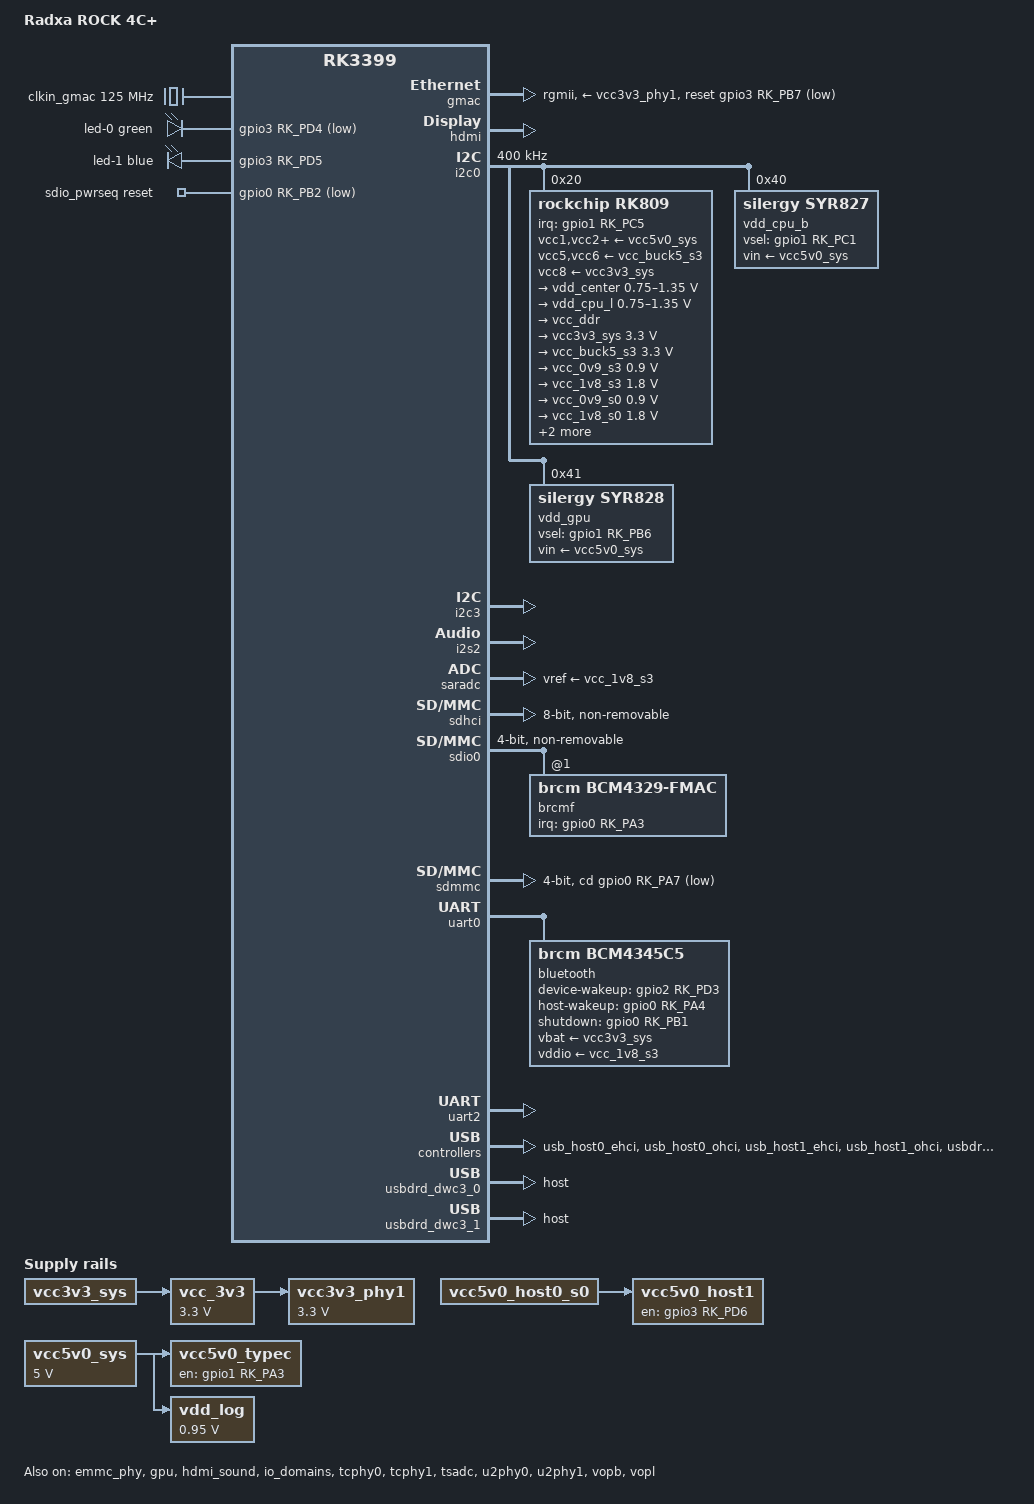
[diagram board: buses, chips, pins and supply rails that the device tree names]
// SPDX-License-Identifier: (GPL-2.0+ OR MIT)
/*
 * Copyright (c) 2019 Fuzhou Rockchip Electronics Co., Ltd
 * Copyright (c) 2019 Radxa Limited
 * Copyright (c) 2022 Amarula Solutions(India)
 */

/dts-v1/;
#include <dt-bindings/leds/common.h>
#include "rk3399.dtsi"
#include "rk3399-t-opp.dtsi"

/ {
	model = "Radxa ROCK 4C+";
	compatible = "radxa,rock-4c-plus", "rockchip,rk3399";

	aliases {
		mmc0 = &sdmmc;
		mmc1 = &sdhci;
	};

	chosen {
		stdout-path = "serial2:1500000n8";
	};

	clkin_gmac: external-gmac-clock {
		compatible = "fixed-clock";
		clock-frequency = <125000000>;
		clock-output-names = "clkin_gmac";
		#clock-cells = <0>;
	};

	leds {
		compatible = "gpio-leds";
		pinctrl-names = "default";
		pinctrl-0 = <&user_led1 &user_led2>;

		/* USER_LED1 */
		led-0 {
			function = LED_FUNCTION_POWER;
			color = <LED_COLOR_ID_GREEN>;
			gpios = <&gpio3 RK_PD4 GPIO_ACTIVE_LOW>;
			linux,default-trigger = "default-on";
		};

		/* USER_LED2 */
		led-1 {
			function = LED_FUNCTION_STATUS;
			color = <LED_COLOR_ID_BLUE>;
			gpios = <&gpio3 RK_PD5 GPIO_ACTIVE_HIGH>;
			linux,default-trigger = "heartbeat";
		};
	};

	sdio_pwrseq: sdio-pwrseq {
		compatible = "mmc-pwrseq-simple";
		clocks = <&rk809 1>;
		clock-names = "ext_clock";
		pinctrl-names = "default";
		pinctrl-0 = <&wifi_enable_h>;
		reset-gpios = <&gpio0 RK_PB2 GPIO_ACTIVE_LOW>;
	};

	vcc_3v3: vcc-3v3-regulator {
		compatible = "regulator-fixed";
		regulator-name = "vcc_3v3";
		regulator-always-on;
		regulator-boot-on;
		regulator-min-microvolt = <3300000>;
		regulator-max-microvolt = <3300000>;
		vin-supply = <&vcc3v3_sys>;
	};

	vcc3v3_phy1: vcc3v3-phy1-regulator {
		compatible = "regulator-fixed";
		regulator-name = "vcc3v3_phy1";
		regulator-always-on;
		regulator-boot-on;
		regulator-min-microvolt = <3300000>;
		regulator-max-microvolt = <3300000>;
		vin-supply = <&vcc_3v3>;
	};

	vcc5v0_host1: vcc5v0-host-regulator {
		compatible = "regulator-fixed";
		enable-active-high;
		gpio = <&gpio3 RK_PD6 GPIO_ACTIVE_HIGH>;
		pinctrl-names = "default";
		pinctrl-0 = <&vcc5v0_host_en>;
		regulator-name = "vcc5v0_host1";
		regulator-always-on;
		regulator-boot-on;
		vin-supply = <&vcc5v0_host0_s0>;
	};

	vcc5v0_sys: vcc5v0-sys-regulator {
		compatible = "regulator-fixed";
		regulator-name = "vcc5v0_sys";
		regulator-always-on;
		regulator-boot-on;
		regulator-min-microvolt = <5000000>;
		regulator-max-microvolt = <5000000>;
	};

	vcc5v0_typec: vcc5v0-typec-regulator {
		compatible = "regulator-fixed";
		enable-active-high;
		gpio = <&gpio1 RK_PA3 GPIO_ACTIVE_HIGH>;
		pinctrl-names = "default";
		pinctrl-0 = <&vcc5v0_typec0_en>;
		regulator-name = "vcc5v0_typec";
		regulator-always-on;
		regulator-boot-on;
		vin-supply = <&vcc5v0_sys>;
	};

	vdd_log: vdd-log-regulator {
		compatible = "regulator-fixed";
		regulator-name = "vdd_log";
		regulator-always-on;
		regulator-boot-on;
		regulator-min-microvolt = <950000>;
		regulator-max-microvolt = <950000>;
		vin-supply = <&vcc5v0_sys>;
	};
};

&cpu_l0 {
	cpu-supply = <&vdd_cpu_l>;
};

&cpu_l1 {
	cpu-supply = <&vdd_cpu_l>;
};

&cpu_l2 {
	cpu-supply = <&vdd_cpu_l>;
};

&cpu_l3 {
	cpu-supply = <&vdd_cpu_l>;
};

&cpu_b0 {
	cpu-supply = <&vdd_cpu_b>;
};

&cpu_b1 {
	cpu-supply = <&vdd_cpu_b>;
};

&emmc_phy {
	status = "okay";
};

&gmac {
	assigned-clocks = <&cru SCLK_RMII_SRC>;
	assigned-clock-parents = <&clkin_gmac>;
	clock_in_out = "input";
	phy-supply = <&vcc3v3_phy1>;
	phy-mode = "rgmii";
	pinctrl-names = "default";
	pinctrl-0 = <&rgmii_pins>;
	snps,reset-gpio = <&gpio3 RK_PB7 GPIO_ACTIVE_LOW>;
	snps,reset-active-low;
	snps,reset-delays-us = <0 10000 50000>;
	tx_delay = <0x2a>;
	rx_delay = <0x21>;
	status = "okay";
};

&gpu {
	mali-supply = <&vdd_gpu>;
	status = "okay";
};

&hdmi {
	avdd-0v9-supply = <&vcc_0v9_s0>;
	avdd-1v8-supply = <&vcc_1v8_s0>;
	ddc-i2c-bus = <&i2c3>;
	pinctrl-names = "default";
	pinctrl-0 = <&hdmi_cec>;
	status = "okay";
};

&hdmi_sound {
	status = "okay";
};

&i2c0 {
	status = "okay";
	i2c-scl-falling-time-ns = <30>;
	i2c-scl-rising-time-ns = <180>;
	clock-frequency = <400000>;

	rk809: pmic@20 {
		compatible = "rockchip,rk809";
		reg = <0x20>;
		interrupt-parent = <&gpio1>;
		interrupts = <RK_PC5 IRQ_TYPE_LEVEL_LOW>;
		#clock-cells = <1>;
		clock-output-names = "rk808-clkout1", "rk808-clkout2";
		pinctrl-names = "default";
		pinctrl-0 = <&pmic_int_l>;
		rockchip,system-power-controller;
		wakeup-source;

		vcc1-supply = <&vcc5v0_sys>;
		vcc2-supply = <&vcc5v0_sys>;
		vcc3-supply = <&vcc5v0_sys>;
		vcc4-supply = <&vcc5v0_sys>;
		vcc5-supply = <&vcc_buck5_s3>;
		vcc6-supply = <&vcc_buck5_s3>;
		vcc7-supply = <&vcc5v0_sys>;
		vcc8-supply = <&vcc3v3_sys>;
		vcc9-supply = <&vcc5v0_sys>;

		regulators {
			vdd_center: DCDC_REG1 {
				regulator-always-on;
				regulator-boot-on;
				regulator-min-microvolt = <750000>;
				regulator-max-microvolt = <1350000>;
				regulator-initial-mode = <0x2>;
				regulator-name = "vdd_center";
				regulator-state-mem {
					regulator-off-in-suspend;
					regulator-suspend-microvolt = <900000>;
				};
			};

			vdd_cpu_l: DCDC_REG2 {
				regulator-always-on;
				regulator-boot-on;
				regulator-min-microvolt = <750000>;
				regulator-max-microvolt = <1350000>;
				regulator-ramp-delay = <6001>;
				regulator-initial-mode = <0x2>;
				regulator-name = "vdd_cpu_l";
				regulator-state-mem {
					regulator-off-in-suspend;
				};
			};

			vcc_ddr: DCDC_REG3 {
				regulator-always-on;
				regulator-boot-on;
				regulator-name = "vcc_ddr";
				regulator-initial-mode = <0x2>;
				regulator-state-mem {
					regulator-on-in-suspend;
				};
			};

			vcc3v3_sys: DCDC_REG4 {
				regulator-always-on;
				regulator-boot-on;
				regulator-min-microvolt = <3300000>;
				regulator-max-microvolt = <3300000>;
				regulator-initial-mode = <0x2>;
				regulator-name = "vcc3v3_sys";
				regulator-state-mem {
					regulator-on-in-suspend;
					regulator-suspend-microvolt = <3300000>;
				};
			};

			vcc_buck5_s3: DCDC_REG5 {
				regulator-always-on;
				regulator-boot-on;
				regulator-min-microvolt = <3300000>;
				regulator-max-microvolt = <3300000>;
				regulator-name = "vcc_buck5_s3";
				regulator-state-mem {
					regulator-on-in-suspend;
					regulator-suspend-microvolt = <3300000>;
				};
			};

			vcc_0v9_s3: LDO_REG1 {
				regulator-always-on;
				regulator-boot-on;
				regulator-min-microvolt = <900000>;
				regulator-max-microvolt = <900000>;
				regulator-name = "vcc_0v9_s3";
				regulator-state-mem {
					regulator-off-in-suspend;
				};
			};

			vcc_1v8_s3: LDO_REG2 {
				regulator-always-on;
				regulator-boot-on;
				regulator-min-microvolt = <1800000>;
				regulator-max-microvolt = <1800000>;
				regulator-name = "vcc_1v8_s3";
				regulator-state-mem {
					regulator-on-in-suspend;
					regulator-suspend-microvolt = <1800000>;
				};
			};

			vcc_0v9_s0: LDO_REG3 {
				regulator-always-on;
				regulator-boot-on;
				regulator-min-microvolt = <900000>;
				regulator-max-microvolt = <900000>;
				regulator-name = "vcc_0v9_s0";
				regulator-state-mem {
					regulator-on-in-suspend;
					regulator-suspend-microvolt = <900000>;
				};
			};

			vcc_1v8_s0: LDO_REG4 {
				regulator-always-on;
				regulator-boot-on;
				regulator-min-microvolt = <1800000>;
				regulator-max-microvolt = <1800000>;
				regulator-name = "vcc_1v8_s0";
				regulator-state-mem {
					regulator-off-in-suspend;
				};
			};

			vcc_mipi: LDO_REG5 {
				regulator-always-on;
				regulator-boot-on;
				regulator-min-microvolt = <3000000>;
				regulator-max-microvolt = <3000000>;
				regulator-name = "vcc_mipi";
				regulator-state-mem {
					regulator-off-in-suspend;
				};
			};

			vcc_1v5_s0: LDO_REG6 {
				regulator-always-on;
				regulator-boot-on;
				regulator-min-microvolt = <1500000>;
				regulator-max-microvolt = <1500000>;
				regulator-name = "vcc_1v5_s0";
				regulator-state-mem {
					regulator-off-in-suspend;
				};
			};

			vcc_3v0_s0: LDO_REG7 {
				regulator-always-on;
				regulator-boot-on;
				regulator-min-microvolt = <3000000>;
				regulator-max-microvolt = <3000000>;
				regulator-name = "vcc_3v0_s0";
				regulator-state-mem {
					regulator-off-in-suspend;
				};
			};

			vcc_sdio_s0: LDO_REG8 {
				regulator-always-on;
				regulator-boot-on;
				regulator-min-microvolt = <1800000>;
				regulator-max-microvolt = <3300000>;
				regulator-name = "vcc_sdio_s0";
				regulator-state-mem {
					regulator-off-in-suspend;
				};
			};

			vcc_cam: LDO_REG9 {
				regulator-always-on;
				regulator-boot-on;
				regulator-min-microvolt = <3300000>;
				regulator-max-microvolt = <3300000>;
				regulator-name = "vcc_cam";
				regulator-state-mem {
					regulator-off-in-suspend;
				};
			};

			vcc5v0_host0_s0: SWITCH_REG1 {
				regulator-always-on;
				regulator-boot-on;
				regulator-name = "vcc5v0_host0_s0";
				regulator-state-mem {
					regulator-on-in-suspend;
				};
			};

			lcd_3v3: SWITCH_REG2 {
				regulator-always-on;
				regulator-boot-on;
				regulator-name = "lcd_3v3";
				regulator-state-mem {
					regulator-off-in-suspend;
				};
			};
		};
	};

	vdd_cpu_b: regulator@40 {
		compatible = "silergy,syr827";
		reg = <0x40>;
		fcs,suspend-voltage-selector = <1>;
		regulator-compatible = "fan53555-reg";
		pinctrl-0 = <&vsel1_gpio>;
		vsel-gpios = <&gpio1 RK_PC1 GPIO_ACTIVE_HIGH>;
		regulator-name = "vdd_cpu_b";
		regulator-min-microvolt = <712500>;
		regulator-max-microvolt = <1500000>;
		regulator-ramp-delay = <1000>;
		regulator-always-on;
		regulator-boot-on;
		vin-supply = <&vcc5v0_sys>;
		regulator-state-mem {
			regulator-off-in-suspend;
		};
	};

	vdd_gpu: regulator@41 {
		compatible = "silergy,syr828";
		reg = <0x41>;
		fcs,suspend-voltage-selector = <1>;
		regulator-compatible = "fan53555-reg";
		pinctrl-0 = <&vsel2_gpio>;
		vsel-gpios = <&gpio1 RK_PB6 GPIO_ACTIVE_HIGH>;
		regulator-name = "vdd_gpu";
		regulator-min-microvolt = <712500>;
		regulator-max-microvolt = <1500000>;
		regulator-ramp-delay = <1000>;
		regulator-always-on;
		regulator-boot-on;
		vin-supply = <&vcc5v0_sys>;
		regulator-initial-mode = <1>; /* 1:force PWM 2:auto */
		regulator-state-mem {
			regulator-off-in-suspend;
		};
	};
};

&i2c3 {
	i2c-scl-rising-time-ns = <450>;
	i2c-scl-falling-time-ns = <15>;
	status = "okay";
};

&i2s2 {
	status = "okay";
};

&io_domains {
	audio-supply = <&vcc_1v8_s0>;
	bt656-supply = <&vcc_3v0_s0>;
	gpio1830-supply = <&vcc_3v0_s0>;
	sdmmc-supply = <&vcc_sdio_s0>;
	status = "okay";
};

&pinctrl {
	bt {
		bt_enable_h: bt-enable-h {
			rockchip,pins = <0 RK_PB1 RK_FUNC_GPIO &pcfg_pull_none>;
		};

		bt_host_wake_l: bt-host-wake-l {
			rockchip,pins = <0 RK_PA4 RK_FUNC_GPIO &pcfg_pull_none>;
		};

		bt_wake_l: bt-wake-l {
			rockchip,pins = <2 RK_PD3 RK_FUNC_GPIO &pcfg_pull_none>;
		};
	};

	leds {
		user_led1: user-led1 {
			rockchip,pins = <3 RK_PD4 RK_FUNC_GPIO &pcfg_pull_none>;
		};

		user_led2: user-led2 {
			rockchip,pins = <3 RK_PD5 RK_FUNC_GPIO &pcfg_pull_none>;
		};
	};

	pmic {
		pmic_int_l: pmic-int-l {
			rockchip,pins = <1 RK_PC5 RK_FUNC_GPIO &pcfg_pull_up>;
		};

		vsel1_gpio: vsel1-gpio {
			rockchip,pins = <1 RK_PC1 RK_FUNC_GPIO &pcfg_pull_down>;
		};

		vsel2_gpio: vsel2-gpio {
			rockchip,pins = <1 RK_PB6 RK_FUNC_GPIO &pcfg_pull_down>;
		};
	};

	sdmmc {
		sdmmc_bus4: sdmmc-bus4 {
			rockchip,pins = <4 8 1 &pcfg_pull_up_8ma>,
					<4 9 1 &pcfg_pull_up_8ma>,
					<4 10 1 &pcfg_pull_up_8ma>,
					<4 11 1 &pcfg_pull_up_8ma>;
		};

		sdmmc_clk: sdmmc-clk {
			rockchip,pins = <4 12 1 &pcfg_pull_none_18ma>;
		};

		sdmmc_cmd: sdmmc-cmd {
			rockchip,pins = <4 13 1 &pcfg_pull_up_8ma>;
		};
	};

	usb-typec {
		vcc5v0_typec0_en: vcc5v0-typec-en {
			rockchip,pins = <1 RK_PA3 RK_FUNC_GPIO &pcfg_pull_up>;
		};
	};

	usb2 {
		vcc5v0_host_en: vcc5v0-host-en {
			rockchip,pins = <3 RK_PD6 RK_FUNC_GPIO &pcfg_pull_up>;
		};
	};

	wifi {
		wifi_enable_h: wifi-enable-h {
			rockchip,pins = <0 RK_PB2 RK_FUNC_GPIO &pcfg_pull_none>;
		};

		wifi_host_wake_l: wifi-host-wake-l {
			rockchip,pins = <0 RK_PA3 RK_FUNC_GPIO &pcfg_pull_none>;
		};
	};
};

&pmu_io_domains {
	pmu1830-supply = <&vcc_3v0_s0>;
	status = "okay";
};

&saradc {
	status = "okay";
	vref-supply = <&vcc_1v8_s3>;
};

&sdhci {
	max-frequency = <150000000>;
	bus-width = <8>;
	mmc-hs400-1_8v;
	non-removable;
	mmc-hs400-enhanced-strobe;
	status = "okay";
};

&sdio0 {
	#address-cells = <1>;
	#size-cells = <0>;
	bus-width = <4>;
	clock-frequency = <50000000>;
	cap-sdio-irq;
	cap-sd-highspeed;
	keep-power-in-suspend;
	mmc-pwrseq = <&sdio_pwrseq>;
	non-removable;
	pinctrl-names = "default";
	pinctrl-0 = <&sdio0_bus4 &sdio0_cmd &sdio0_clk>;
	sd-uhs-sdr104;
	status = "okay";

	brcmf: wifi@1 {
		compatible = "brcm,bcm4329-fmac";
		reg = <1>;
		interrupt-parent = <&gpio0>;
		interrupts = <RK_PA3 IRQ_TYPE_LEVEL_HIGH>;
		interrupt-names = "host-wake";
		pinctrl-names = "default";
		pinctrl-0 = <&wifi_host_wake_l>;
	};
};

&sdmmc {
	bus-width = <4>;
	cap-mmc-highspeed;
	cap-sd-highspeed;
	card-detect-delay = <800>;
	disable-wp;
	pinctrl-names = "default";
	pinctrl-0 = <&sdmmc_clk &sdmmc_cmd &sdmmc_bus4>;
	cd-gpios = <&gpio0 RK_PA7 GPIO_ACTIVE_LOW>;
	vqmmc-supply = <&vcc_sdio_s0>;
	status = "okay";
};

&tcphy0 {
	status = "okay";
};

&tcphy1 {
	status = "okay";
};

&tsadc {
	rockchip,hw-tshut-mode = <1>;
	rockchip,hw-tshut-polarity = <1>;
	status = "okay";
};

&u2phy0 {
	status = "okay";

	u2phy0_otg: otg-port {
		status = "okay";
	};

	u2phy0_host: host-port {
		phy-supply = <&vcc5v0_host1>;
		status = "okay";
	};
};

&u2phy1 {
	status = "okay";

	u2phy1_otg: otg-port {
		status = "okay";
	};

	u2phy1_host: host-port {
		phy-supply = <&vcc5v0_host1>;
		status = "okay";
	};
};

&uart0 {
	pinctrl-names = "default";
	pinctrl-0 = <&uart0_xfer &uart0_cts &uart0_rts>;
	status = "okay";

	bluetooth {
		compatible = "brcm,bcm4345c5";
		clocks = <&rk809 1>;
		clock-names = "lpo";
		device-wakeup-gpios = <&gpio2 RK_PD3 GPIO_ACTIVE_HIGH>;
		host-wakeup-gpios = <&gpio0 RK_PA4 GPIO_ACTIVE_HIGH>;
		shutdown-gpios = <&gpio0 RK_PB1 GPIO_ACTIVE_HIGH>;
		max-speed = <1500000>;
		pinctrl-names = "default";
		pinctrl-0 = <&bt_host_wake_l &bt_wake_l &bt_enable_h>;
		vbat-supply = <&vcc3v3_sys>;
		vddio-supply = <&vcc_1v8_s3>;
	};
};

&uart2 {
	status = "okay";
};

&usb_host0_ehci {
	status = "okay";
};

&usb_host0_ohci {
	status = "okay";
};

&usb_host1_ehci {
	status = "okay";
};

&usb_host1_ohci {
	status = "okay";
};

&usbdrd3_0 {
	extcon = <&u2phy0>;
	status = "okay";
};

&usbdrd_dwc3_0 {
	status = "okay";
	dr_mode = "host";
};

&usbdrd3_1 {
	status = "okay";
};

&usbdrd_dwc3_1 {
	status = "okay";
	dr_mode = "host";
};

&vopb {
	status = "okay";
};

&vopb_mmu {
	status = "okay";
};

&vopl {
	status = "okay";
};

&vopl_mmu {
	status = "okay";
};
